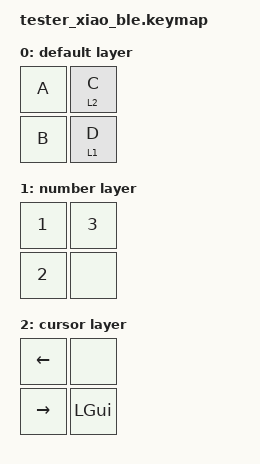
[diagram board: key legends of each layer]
#include <behaviors.dtsi>
#include <physical_layouts.dtsi>
#include <dt-bindings/zmk/keys.h>
#include <dt-bindings/zmk/bt.h>
#include <dt-bindings/zmk/outputs.h>

#define NUM_LAYER 1
#define CURSOR_LAYER 2

/ {
    keymap {
        compatible = "zmk,keymap";
        default_layer {
            display-name = "default layer";
            bindings = <
                &kp A   &kp B
                &lt 2 C &lt 1 D
            >;
        };

        num_layer {
            display-name = "number layer";
            bindings = <
                &kp N1 &kp N2
                &kp N3 &none 
            >;
        };

        cursor_layer {
            display-name = "cursor layer";
            bindings = <
                &kp LEFT &kp RIGHT
                &none    &kp LGUI 
            >;
        };
    };
};
